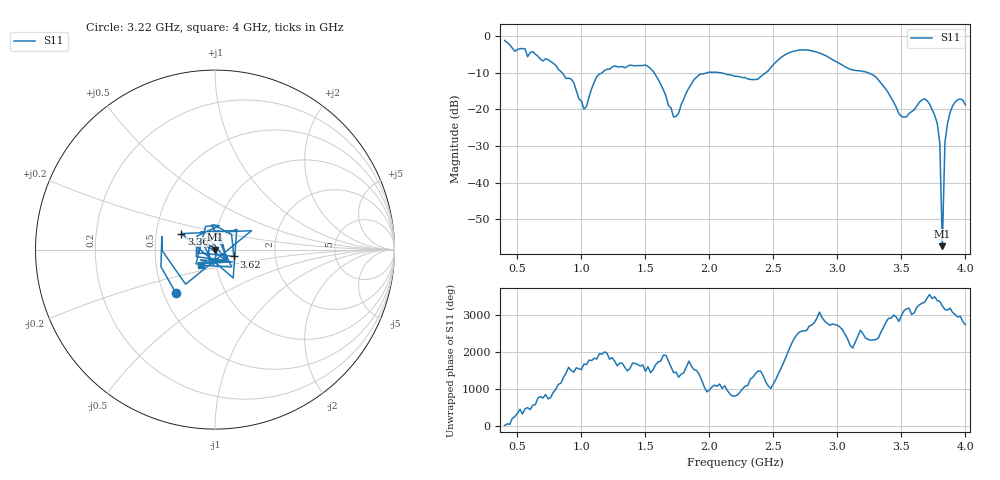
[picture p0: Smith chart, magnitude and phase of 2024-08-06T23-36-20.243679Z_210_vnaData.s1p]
!Created with skrf (http://scikit-rf.org).
# Hz S RI R 50.0
!freq ReS11 ImS11
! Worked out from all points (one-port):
!   181 points, 400 MHz to 4 GHz, reference 50 ohm
!   lowest |S11| = -57.3 dB at 3.82 GHz (marker M1), VSWR 1.00, Z = 50.1 + j0.0345 ohm
!   |S11| at or under -10 dB: 1.568 GHz to 1.983 GHz (415 MHz wide, 23.4 % of centre); 2.074 GHz to 2.439 GHz (364.6 MHz wide, 16.2 % of centre); 3.239 GHz to end of sweep (the widest 3 of 4)
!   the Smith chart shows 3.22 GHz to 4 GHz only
!   S11 on the Smith chart (normalised r, x): 3.22 GHz: 0.58, -0.31; 3.36 GHz: 0.67, +0.13; 3.62 GHz: 1.23, -0.09; 4 GHz: 0.85, -0.15
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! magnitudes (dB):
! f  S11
! 400 MHz  -1.2
! 860 MHz  -10.4
! 940 MHz  -12.7
! 1.02 GHz  -19.9
! 1.12 GHz  -11.1
! 1.3 GHz  -8.4
! 1.52 GHz  -8.3
! 1.6 GHz  -11.8
! 1.72 GHz  -22.1
! 1.76 GHz  -21.0
! 1.92 GHz  -10.5
! 2.2 GHz  -11.0
! 2.38 GHz  -11.7
! 2.66 GHz  -4.1
! 3.1 GHz  -9.1
! 3.22 GHz  -9.8
! 3.36 GHz  -13.7
! 3.5 GHz  -21.9
! 3.56 GHz  -21.1
! 3.62 GHz  -19.1
! 3.7 GHz  -17.6
! 3.78 GHz  -23.8
! 3.8 GHz  -29.2
! 3.82 GHz  -57.3
! 3.84 GHz  -29.1
! 3.86 GHz  -23.9
! 3.92 GHz  -18.0
! 4 GHz  -18.8
